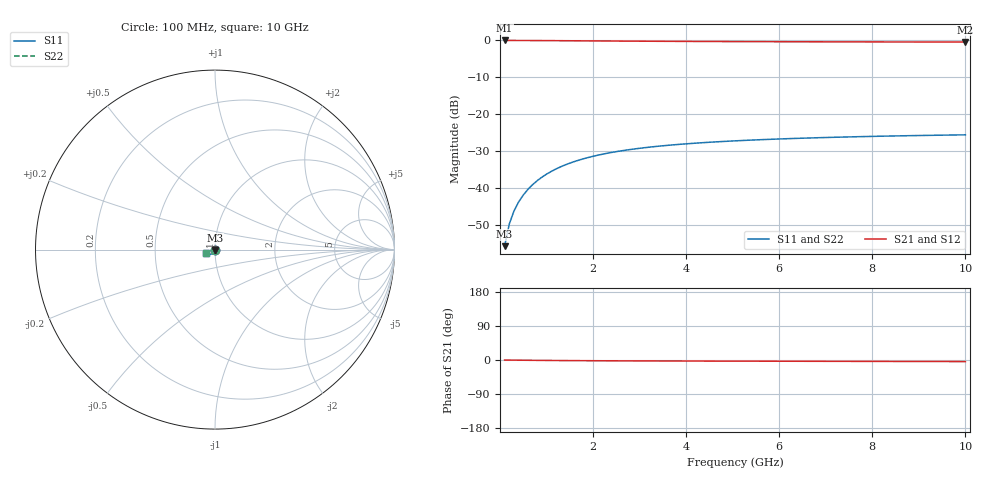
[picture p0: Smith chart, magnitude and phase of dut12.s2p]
! Touchstone file exported from HFSS 2024.1.0
!  File:  C:/UserFiles/LocalFiles/RDL_TSV_Batchsim/temp_TSV1_12_1778763810.aedt
!  Generated:  09:06:35 PM May 14, 2026
!  Design:  TSV1
!  Project:  temp_TSV1_12_1778763810
!  Setup:  Setup1
!  Solution:  Sweep
! Variables:
!  dtsv = 17.04um
!  hbump = 3um
!  htsv = 57.97um
!  lrdl = 252.1521522um
!  p = 40
!  p1 = 52.72um
!  t = 500um
!  trdl = 3um
!  wrdl = 24.89489489um
# GHz S MA R 50.000000
! Terminal data exported
! Port[1] = TSV22_T1
! Port[2] = TSV22_T2
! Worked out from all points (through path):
!   100 points, 100 MHz to 10 GHz, reference 50 ohm
!   highest |S21| = 0.00 dB at 100 MHz (marker M1); lowest = -0.4 dB at 10 GHz (marker M2)
!   lowest |S11| = -55.8 dB at 100 MHz (marker M3), VSWR 1.00, Z = 50 - j0.161 ohm
!   |S11| at or under -10 dB: start of sweep to end of sweep
!   |S22| runs from -55.8 to -25.6 dB; largest |S21 - S12| = 3.1e-15
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0.1  0.001614 -89.6  0.9999 -0.1  0.9999 -0.1  0.001614 -89.6
! Gamma 0 0 0 0
! Port Impedance 50 0 50 0
0.2  0.003222 -92.7  0.9997 -0.2  0.9997 -0.2  0.003222 -92.7
0.3  0.004822 -94.9  0.9994 -0.4  0.9994 -0.4  0.004822 -94.9
0.4  0.006407 -97.0  0.9991 -0.5  0.9991 -0.5  0.006407 -97.0
0.5  0.007971 -98.9  0.9986 -0.6  0.9986 -0.6  0.007971 -98.9
0.6  0.009509 -100.7  0.998 -0.7  0.998 -0.7  0.009509 -100.7
0.7  0.01102 -102.5  0.9974 -0.8  0.9974 -0.8  0.01102 -102.5
0.8  0.01249 -104.3  0.9967 -0.9  0.9967 -0.9  0.01249 -104.3
0.9  0.01392 -106.0  0.9959 -1.0  0.9959 -1.0  0.01392 -106.0
1.1  0.01666 -109.2  0.9942 -1.2  0.9942 -1.2  0.01666 -109.2
1.4  0.02044 -113.8  0.9915 -1.5  0.9915 -1.5  0.02044 -113.8
1.6  0.02273 -116.6  0.9896 -1.7  0.9896 -1.7  0.02273 -116.6
1.8  0.02484 -119.2  0.9877 -1.8  0.9877 -1.8  0.02484 -119.2
2.1  0.02769 -122.7  0.9849 -2.0  0.9849 -2.0  0.02769 -122.7
2.5  0.03098 -126.9  0.9813 -2.2  0.9813 -2.2  0.03098 -126.9
2.9  0.03375 -130.5  0.9781 -2.3  0.9781 -2.3  0.03375 -130.5
3.4  0.03666 -134.4  0.9744 -2.5  0.9744 -2.5  0.03666 -134.4
4.2  0.04036 -139.3  0.9695 -2.8  0.9695 -2.8  0.04036 -139.3
5.1  0.04353 -143.6  0.965 -3.0  0.965 -3.0  0.04354 -143.6
6.7  0.04757 -149.4  0.959 -3.4  0.959 -3.4  0.04757 -149.4
8.4  0.05047 -153.8  0.9547 -3.8  0.9547 -3.8  0.05047 -153.8
10  0.05237 -157.0  0.9517 -4.2  0.9517 -4.2  0.05237 -157.0
